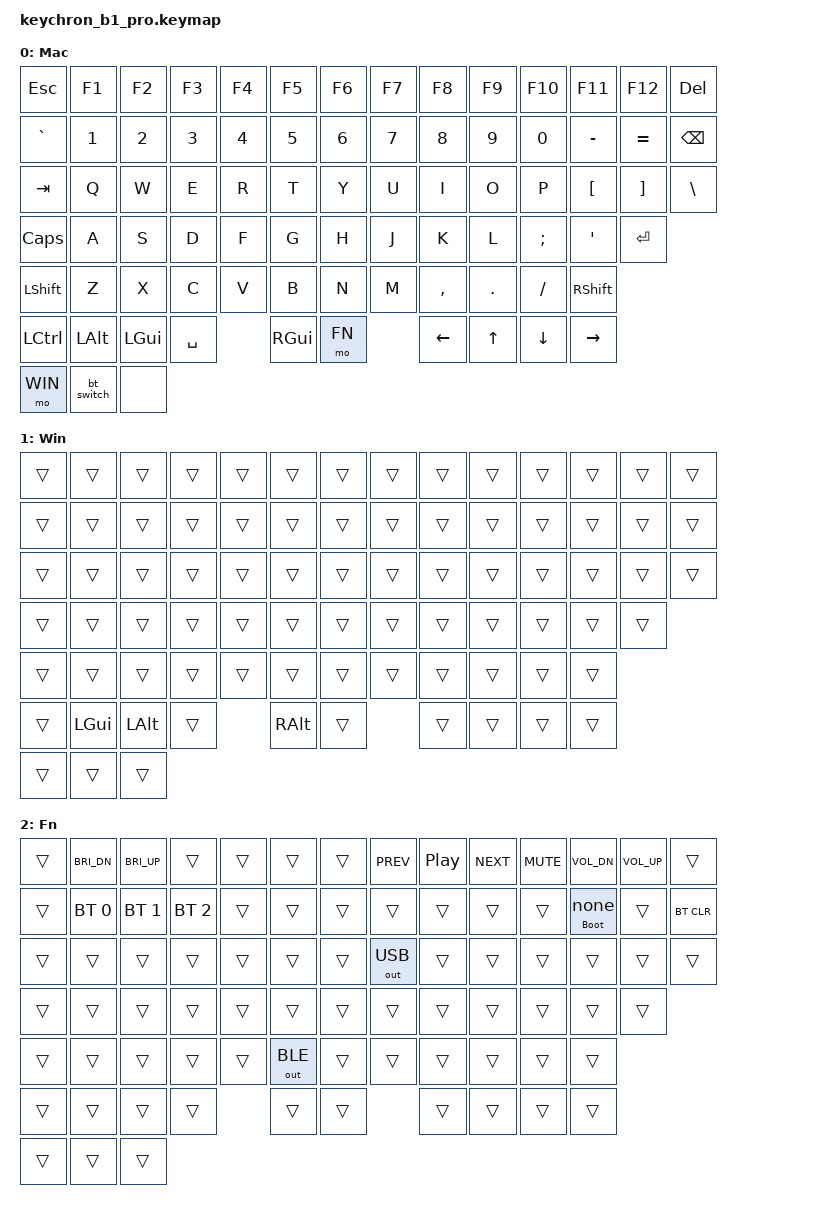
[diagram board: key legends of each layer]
/*
 * Keychron B1 Pro (US/ANSI), standalone on upstream ZMK.
 *
 * Meant to prove the board port on the keyboard before it joins the roBakesb
 * link: every key, both slide switches, USB, BLE and the bootloader key. It
 * follows Keychron's own firmware where it can:
 *
 *   Mac/Win switch  Win holds the WIN layer on top of MAC, like Keychron's
 *                   `&mo 2` on that switch position.
 *   BT/2.4G/Cable   BT prefers BLE; leaving BT prefers USB again. 2.4G has no
 *                   radio here, so it behaves like Cable (USB when plugged in,
 *                   BLE otherwise -- ZMK's normal fallback).
 *   Fn + 1/2/3      BLE profile 1/2/3. Fn + Backspace forgets the current one.
 *   Fn + - (3 s)    UF2 bootloader (NRF52BOOT drive), the same combo and hold
 *                   as stock. The reset button on the back still works.
 *   Fn + U / Fn + B force USB / BLE output, in case a switch reads wrong.
 *
 * Positions run row by row as the keycaps read; the bottom row's arrows are
 * left, up, down, right; 77-79 are the Mac/Win, BT and 2.4G switches.
 */

#include <behaviors.dtsi>
#include <dt-bindings/zmk/bt.h>
#include <dt-bindings/zmk/keys.h>
#include <dt-bindings/zmk/outputs.h>

#define MAC 0
#define WIN 1
#define FN  2

/ {
    behaviors {
        boot_hold: boot_hold {
            compatible = "zmk,behavior-hold-tap";
            #binding-cells = <2>;
            flavor = "tap-preferred";
            tapping-term-ms = <3000>;
            bindings = <&bootloader>, <&none>;
        };
    };

    macros {
        bt_switch: bt_switch {
            compatible = "zmk,behavior-macro";
            #binding-cells = <0>;
            bindings
                = <&out OUT_BLE>
                , <&macro_pause_for_release>
                , <&out OUT_USB>
                ;
        };
    };

    keymap {
        compatible = "zmk,keymap";

        mac_layer {
            display-name = "Mac";
            bindings = <
&kp ESC    &kp F1   &kp F2   &kp F3   &kp F4   &kp F5   &kp F6   &kp F7   &kp F8    &kp F9   &kp F10   &kp F11   &kp F12   &kp DEL
&kp GRAVE  &kp N1   &kp N2   &kp N3   &kp N4   &kp N5   &kp N6   &kp N7   &kp N8    &kp N9   &kp N0    &kp MINUS &kp EQUAL &kp BSPC
&kp TAB    &kp Q    &kp W    &kp E    &kp R    &kp T    &kp Y    &kp U    &kp I     &kp O    &kp P     &kp LBKT  &kp RBKT  &kp BSLH
&kp CAPS   &kp A    &kp S    &kp D    &kp F    &kp G    &kp H    &kp J    &kp K     &kp L    &kp SEMI  &kp SQT   &kp RET
&kp LSHFT  &kp Z    &kp X    &kp C    &kp V    &kp B    &kp N    &kp M    &kp COMMA &kp DOT  &kp FSLH  &kp RSHFT
&kp LCTRL  &kp LALT &kp LGUI &kp SPACE         &kp RGUI &mo FN            &kp LEFT  &kp UP   &kp DOWN  &kp RIGHT
&mo WIN    &bt_switch &none
            >;
        };

        win_layer {
            display-name = "Win";
            bindings = <
&trans     &trans   &trans   &trans   &trans   &trans   &trans   &trans   &trans    &trans   &trans    &trans    &trans    &trans
&trans     &trans   &trans   &trans   &trans   &trans   &trans   &trans   &trans    &trans   &trans    &trans    &trans    &trans
&trans     &trans   &trans   &trans   &trans   &trans   &trans   &trans   &trans    &trans   &trans    &trans    &trans    &trans
&trans     &trans   &trans   &trans   &trans   &trans   &trans   &trans   &trans    &trans   &trans    &trans    &trans
&trans     &trans   &trans   &trans   &trans   &trans   &trans   &trans   &trans    &trans   &trans    &trans
&trans     &kp LGUI &kp LALT &trans            &kp RALT &trans            &trans    &trans   &trans    &trans
&trans     &trans   &trans
            >;
        };

        fn_layer {
            display-name = "Fn";
            bindings = <
&trans     &kp C_BRI_DN &kp C_BRI_UP &trans &trans &trans &trans &kp C_PREV &kp C_PP &kp C_NEXT &kp C_MUTE &kp C_VOL_DN &kp C_VOL_UP &trans
&trans     &bt BT_SEL 0 &bt BT_SEL 1 &bt BT_SEL 2 &trans &trans &trans &trans &trans &trans &trans &boot_hold 0 0 &trans &bt BT_CLR
&trans     &trans   &trans   &trans   &trans   &trans   &trans   &out OUT_USB &trans &trans &trans  &trans    &trans    &trans
&trans     &trans   &trans   &trans   &trans   &trans   &trans   &trans   &trans    &trans   &trans    &trans    &trans
&trans     &trans   &trans   &trans   &trans   &out OUT_BLE &trans &trans &trans   &trans   &trans    &trans
&trans     &trans   &trans   &trans            &trans   &trans            &trans    &trans   &trans    &trans
&trans     &trans   &trans
            >;
        };
    };
};
